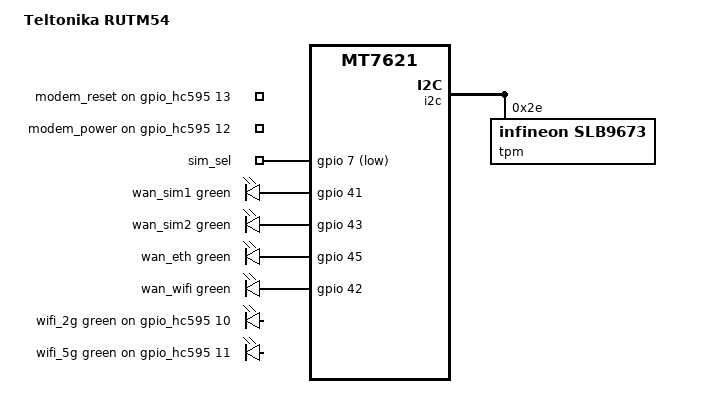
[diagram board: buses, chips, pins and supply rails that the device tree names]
// SPDX-License-Identifier: GPL-2.0-or-later OR MIT

#include "mt7621_teltonika_rutm-4lan-5g.dtsi"
#include "mt7621_teltonika_rutm-wifi.dtsi"

/ {
	compatible = "teltonika,rutm54", "mediatek,mt7621-soc";
	model = "Teltonika RUTM54";

	gpio-export {
		compatible = "gpio-export";
		#size-cells = <0>;

		gpio_modem_reset {
			gpio-export,name = "modem_reset";
			gpio-export,output = <0>;
			gpios = <&gpio_hc595 13 GPIO_ACTIVE_HIGH>;
		};

		gpio_modem_power {
			gpio-export,name = "modem_power";
			gpio-export,output = <0>;
			gpios = <&gpio_hc595 12 GPIO_ACTIVE_HIGH>;
		};

		gpio_sim_select {
			gpio-export,name = "sim_sel";
			gpio-export,output = <1>;
			gpios = <&gpio 7 GPIO_ACTIVE_LOW>;
		};
	};

	leds {
		wan_sim1 {
			function = "wan-sim1";
			color = <LED_COLOR_ID_GREEN>;
			gpios = <&gpio 41 GPIO_ACTIVE_HIGH>;
		};

		wan_sim2 {
			function = "wan-sim2";
			color = <LED_COLOR_ID_GREEN>;
			gpios = <&gpio 43 GPIO_ACTIVE_HIGH>;
		};

		wan_eth {
			function = "wan-eth";
			color = <LED_COLOR_ID_GREEN>;
			gpios = <&gpio 45 GPIO_ACTIVE_HIGH>;
		};

		wan_wifi {
			function = "wan-wifi";
			color = <LED_COLOR_ID_GREEN>;
			gpios = <&gpio 42 GPIO_ACTIVE_HIGH>;
		};

		wifi_2g {
			function = LED_FUNCTION_WLAN_2GHZ;
			color = <LED_COLOR_ID_GREEN>;
			gpios = <&gpio_hc595 10 GPIO_ACTIVE_HIGH>;
			linux,default-trigger = "phy0tpt";
		};

		wifi_5g {
			function = LED_FUNCTION_WLAN_5GHZ;
			color = <LED_COLOR_ID_GREEN>;
			gpios = <&gpio_hc595 11 GPIO_ACTIVE_HIGH>;
			linux,default-trigger = "phy1tpt";
		};
	};
};

&lan4_g {
	gpios = <&gpio_hc595 3 GPIO_ACTIVE_LOW>;
};

&lan4_y {
	gpios = <&gpio_hc595 8 GPIO_ACTIVE_LOW>;
};

&i2c {
	status = "okay";

	tpm: tpm@2e {
		compatible = "infineon,slb9673";
		reg = <0x2e>;
		status = "okay";
	};
};
